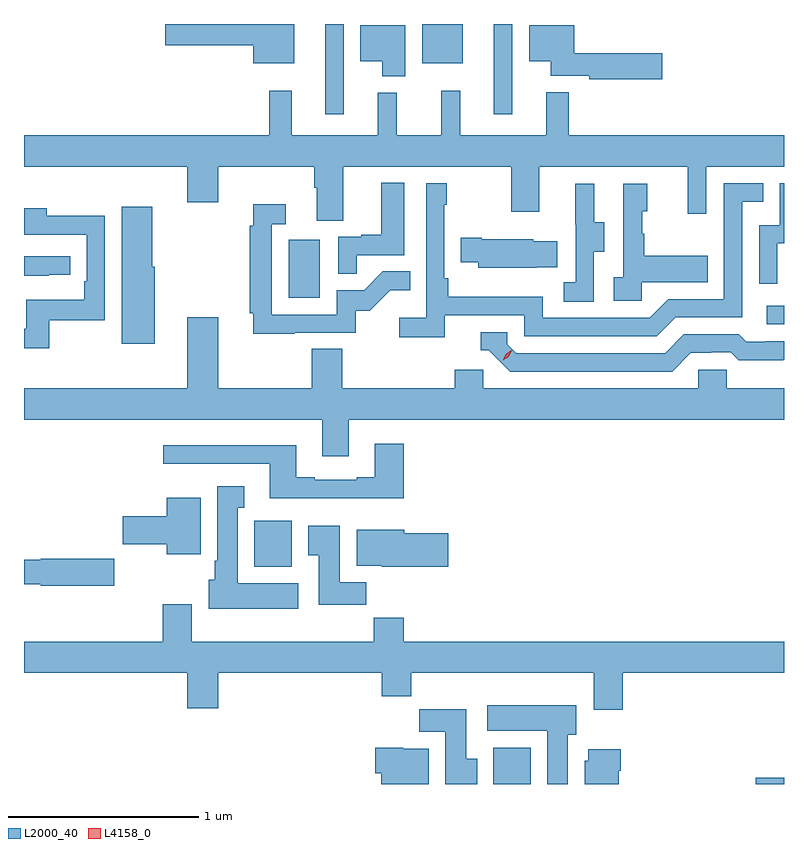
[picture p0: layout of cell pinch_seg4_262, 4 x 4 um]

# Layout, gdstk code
import gdstk
lib = gdstk.Library(unit=1e-6, precision=1e-09)
def R(c, l, rs):  # rectangles x0, y0, x1, y1
    for r in rs: c.add(gdstk.rectangle(r[:2], r[2:], *l))
def P(c, l, *ps):  # polygons
    for p in ps: c.add(gdstk.Polygon(p, *l))
L2000_40 = (2000, 40)
L4158_0 = (4158, 0)

pinch_seg4_262 = lib.new_cell('pinch_seg4_262')
R(pinch_seg4_262, L2000_40, [(933.851,821.542,934.048,821.734), (935.232,821.542,935.381,821.576), (932.594,822.686,932.791,822.928), (935.289,823.962,935.381,824.058), (932.774,824.1,932.938,824.407), (932.966,825.066,933.063,825.542), (933.854,825.066,933.951,825.542), (933.476,825.335,933.691,825.542)])
P(pinch_seg4_262, L2000_40, [(932.803,825.542),(932.124,825.542),(932.124,825.43),(932.588,825.43),(932.588,825.335),(932.803,825.335)],
  [(934.741,825.387),(934.276,825.387),(934.276,825.535),(934.04,825.535),(934.04,825.347),(934.154,825.347),(934.154,825.269),(934.356,825.269),(934.356,825.25),(934.741,825.25)],
  [(933.388,825.535),(933.152,825.535),(933.152,825.347),(933.266,825.347),(933.266,825.266),(933.388,825.266)],
  [(933.061,824.792),(933.946,824.792),(933.946,824.553),(934.093,824.553),(934.093,824.792),(934.874,824.792),(934.874,824.544),(934.971,824.544),(934.971,824.792),(935.381,824.792),(935.381,824.956),(934.247,824.956),(934.247,825.184),(934.13,825.184),(934.13,824.956),(933.677,824.956),(933.677,825.19),(933.577,825.19),(933.577,824.956),(933.342,824.956),(933.342,825.181),(933.242,825.181),(933.242,824.956),(932.789,824.956),(932.789,825.19),(932.671,825.19),(932.671,824.956),(931.381,824.956),(931.381,824.792),(932.24,824.792),(932.24,824.604),(932.404,824.604),(932.404,824.792),(932.909,824.792),(932.909,824.68),(932.921,824.68),(932.921,824.506),(933.061,824.506)],
  [(933.131,824.325),(933.382,824.325),(933.382,824.707),(933.26,824.707),(933.26,824.434),(933.157,824.434),(933.157,824.421),(933.036,824.421),(933.036,824.227),(933.131,824.227)],
  [(933.596,824.01),(934.014,824.01),(934.014,823.899),(934.711,823.899),(934.81,823.998),(935.16,823.998),(935.16,824.607),(935.273,824.607),(935.273,824.703),(935.064,824.703),(935.064,824.094),(934.773,824.094),(934.674,823.995),(934.11,823.995),(934.11,824.107),(933.614,824.107),(933.614,824.203),(933.594,824.203),(933.594,824.591),(933.607,824.591),(933.607,824.704),(933.498,824.704),(933.498,823.996),(933.357,823.996),(933.357,823.894),(933.596,823.894)],
  [(935.346,824.387),(935.381,824.387),(935.381,824.703),(935.358,824.703),(935.358,824.484),(935.25,824.484),(935.25,824.175),(935.346,824.175)],
  [(934.38,824.344),(934.435,824.344),(934.435,824.499),(934.381,824.499),(934.381,824.701),(934.283,824.701),(934.283,824.487),(934.284,824.487),(934.284,824.183),(934.221,824.183),(934.221,824.08),(934.38,824.08)],
  [(934.632,824.183),(934.979,824.183),(934.979,824.323),(934.645,824.323),(934.645,824.438),(934.635,824.438),(934.635,824.556),(934.66,824.556),(934.66,824.701),(934.536,824.701),(934.536,824.21),(934.485,824.21),(934.485,824.085),(934.632,824.085)],
  [(932.807,823.917),(933.126,823.917),(933.126,824.034),(933.202,824.034),(933.309,824.141),(933.413,824.141),(933.413,824.24),(933.27,824.24),(933.172,824.142),(933.027,824.142),(933.027,824.013),(932.685,824.013),(932.685,824.487),(932.758,824.487),(932.758,824.593),(932.588,824.593),(932.588,824.48),(932.569,824.48),(932.569,824.02),(932.588,824.02),(932.588,823.912),(932.807,823.912)],
  [(932.068,824.265),(932.056,824.265),(932.056,824.581),(931.895,824.581),(931.895,823.86),(932.068,823.86)],
  [(931.513,823.983),(931.806,823.983),(931.806,824.534),(931.501,824.534),(931.501,824.572),(931.381,824.572),(931.381,824.432),(931.397,824.432),(931.397,824.433),(931.71,824.433),(931.71,824.188),(931.697,824.188),(931.697,824.092),(931.392,824.092),(931.392,823.937),(931.381,823.937),(931.381,823.836),(931.513,823.836)],
  [(934.079,824.261),(934.187,824.261),(934.187,824.398),(934.062,824.398),(934.062,824.41),(933.79,824.41),(933.79,824.418),(933.679,824.418),(933.679,824.288),(933.773,824.288),(933.773,824.258),(934.079,824.258)],
  [(931.511,824.223),(931.624,824.223),(931.624,824.319),(931.381,824.319),(931.381,824.218),(931.511,824.218)],
  [(933.091,823.46),(935.381,823.46),(935.381,823.624),(935.079,823.624),(935.079,823.722),(934.929,823.722),(934.929,823.624),(933.798,823.624),(933.798,823.722),(933.647,823.722),(933.647,823.624),(933.056,823.624),(933.056,823.832),(932.896,823.832),(932.896,823.624),(932.404,823.624),(932.404,823.999),(932.24,823.999),(932.24,823.624),(931.381,823.624),(931.381,823.46),(932.951,823.46),(932.951,823.266),(933.091,823.266)],
  [(934.891,823.812),(934.998,823.812),(934.998,823.815),(935.101,823.815),(935.143,823.773),(935.376,823.773),(935.376,823.775),(935.381,823.775),(935.381,823.872),(935.281,823.872),(935.281,823.869),(935.182,823.869),(935.143,823.908),(934.854,823.908),(934.755,823.809),(933.972,823.809),(933.924,823.857),(933.924,823.92),(933.785,823.92),(933.785,823.824),(933.828,823.824),(933.939,823.713),(934.792,823.713)],
  [(933.38,823.333),(933.227,823.333),(933.227,823.156),(933.131,823.156),(933.131,823.143),(932.911,823.143),(932.911,823.156),(932.815,823.156),(932.815,823.324),(932.115,823.324),(932.115,823.227),(932.675,823.227),(932.675,823.046),(933.38,823.046)],
  [(932.824,822.598),(932.506,822.598),(932.506,822.995),(932.539,822.995),(932.539,823.108),(932.399,823.108),(932.399,822.718),(932.384,822.718),(932.384,822.618),(932.354,822.618),(932.354,822.464),(932.824,822.464)],
  [(932.311,823.048),(932.132,823.048),(932.132,822.95),(931.902,822.95),(931.902,822.803),(932.132,822.803),(932.132,822.752),(932.311,822.752)],
  [(933.182,822.604),(933.043,822.604),(933.043,822.901),(932.876,822.901),(932.876,822.745),(932.933,822.745),(932.933,822.486),(933.182,822.486)],
  [(933.613,822.863),(933.382,822.863),(933.382,822.88),(933.131,822.88),(933.131,822.692),(933.264,822.692),(933.264,822.686),(933.613,822.686)],
  [(931.855,822.728),(931.47,822.728),(931.47,822.722),(931.381,822.722),(931.381,822.594),(931.47,822.594),(931.47,822.586),(931.855,822.586)],
  [(934.532,822.128),(935.381,822.128),(935.381,822.292),(933.38,822.292),(933.38,822.416),(933.223,822.416),(933.223,822.292),(932.263,822.292),(932.263,822.487),(932.111,822.487),(932.111,822.292),(931.381,822.292),(931.381,822.128),(932.24,822.128),(932.24,821.94),(932.404,821.94),(932.404,822.128),(933.263,822.128),(933.263,822.004),(933.419,822.004),(933.419,822.128),(934.379,822.128),(934.379,821.934),(934.532,821.934)],
  [(934.243,821.802),(934.288,821.802),(934.288,821.956),(933.819,821.956),(933.819,821.822),(934.136,821.822),(934.136,821.542),(934.243,821.542)],
  [(933.766,821.676),(933.709,821.676),(933.709,821.935),(933.46,821.935),(933.46,821.816),(933.599,821.816),(933.599,821.542),(933.766,821.542)],
  [(933.511,821.728),(933.378,821.728),(933.378,821.734),(933.23,821.734),(933.23,821.598),(933.26,821.598),(933.26,821.542),(933.511,821.542)],
  [(934.51,821.612),(934.523,821.612),(934.523,821.725),(934.352,821.725),(934.352,821.664),(934.331,821.664),(934.331,821.542),(934.51,821.542)])
P(pinch_seg4_262, L4158_0, [(933.9,823.772),(933.9,823.772),(933.916,823.805),(933.946,823.824),(933.947,823.824),(933.947,823.824),(933.931,823.791),(933.9,823.772)])

lib.write_gds('pinch_seg4_262.gds')
